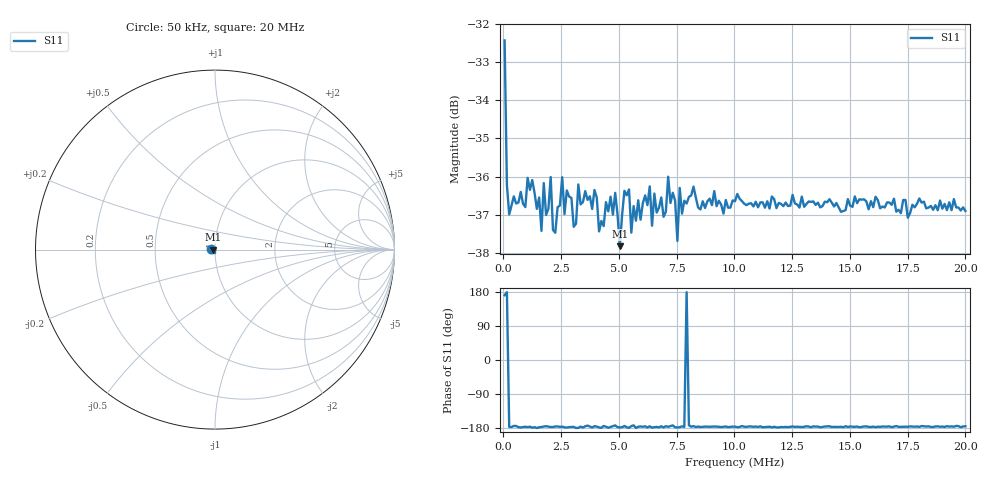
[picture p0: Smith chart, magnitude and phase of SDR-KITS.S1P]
!Keysight Technologies,E5063A,MY54100949,A.07.00
!Date: Tue Oct 17 15:46:43 2023
!Data & Calibration Information:
!Freq	S11:SOLT2(ON)
# Hz S RI R 50
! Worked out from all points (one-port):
!   201 points, 50 kHz to 20 MHz, reference 50 ohm
!   lowest |S11| = -37.8 dB at 5.037 MHz (marker M1), VSWR 1.03, Z = 48.7 - j0.0486 ohm
!   |S11| at or under -10 dB: start of sweep to end of sweep
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50000  -0.0236 0.00376
149750  -0.0154 0.000269
249500  -0.0141 -0.000798
1247000  -0.0157 -0.000347
1646000  -0.0134 -0.000725
1745750  -0.0155 -0.00119
1845500  -0.0141 -0.0013
2045000  -0.0158 -0.000864
2244500  -0.0133 -0.00106
2543750  -0.0158 -0.00115
3042500  -0.0136 -0.000806
3242000  -0.0155 -0.000236
4139750  -0.0134 -0.000478
4838000  -0.015 -0.00197
5037500  -0.0128 -0.000499
5237000  -0.0151 -0.00156
5536250  -0.0133 -0.00131
6334250  -0.0153 -0.00137
6434000  -0.0137 -0.00036
6932750  -0.014 -0.000502
7132250  -0.0158 -0.000981
7531250  -0.013 -0.00048
7631000  -0.0153 -0.000681
1.0025e7  -0.0147 -0.00108
1.251875e7  -0.0149 -0.00123
1.50125e7  -0.0145 -0.00116
1.750625e7  -0.014 -0.000871
2e7  -0.0142 -0.00126
